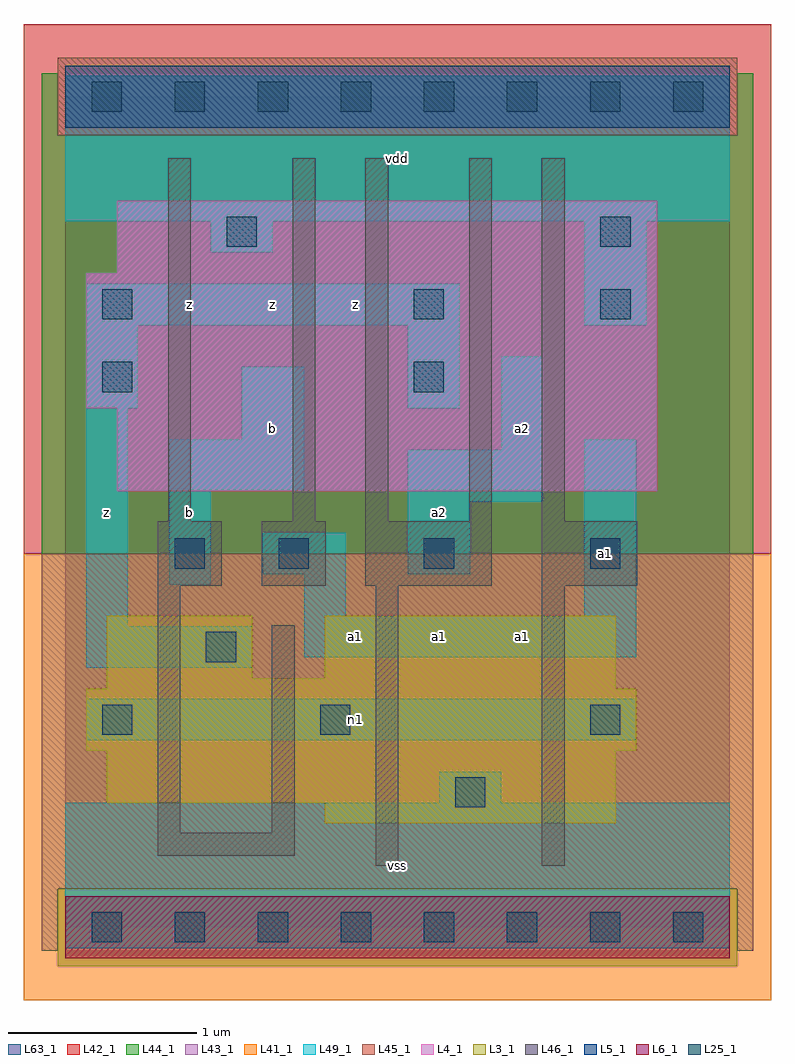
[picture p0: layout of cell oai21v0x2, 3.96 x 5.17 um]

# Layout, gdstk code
import gdstk
lib = gdstk.Library(unit=1e-6, precision=1e-09)
def R(c, l, rs):  # rectangles x0, y0, x1, y1
    for r in rs: c.add(gdstk.rectangle(r[:2], r[2:], *l))
def A(c, l, x, y, w, h, nx, ny, dx, dy):  # array of equal rectangles
    R(c, l, [(x+i*dx, y+j*dy, x+i*dx+w, y+j*dy+h) for i in range(nx) for j in range(ny)])
L3_1 = (3, 1)
L4_1 = (4, 1)
L5_1 = (5, 1)
L6_1 = (6, 1)
L25_1 = (25, 1)
L41_1 = (41, 1)
L42_1 = (42, 1)
L43_1 = (43, 1)
L44_1 = (44, 1)
L45_1 = (45, 1)
L46_1 = (46, 1)
L49_1 = (49, 1)
L63_1 = (63, 1)

oai21v0x2 = lib.new_cell('oai21v0x2')
R(oai21v0x2, L3_1, [(1.375,0.55,2.915,0.66), (0.22,0.66,2.915,0.935), (0.11,0.935,3.025,1.265), (0.22,1.265,2.915,1.32), (0.22,1.32,0.99,1.65), (1.375,1.32,2.915,1.65)])
R(oai21v0x2, L4_1, [(0.275,2.31,3.135,2.75), (0.11,2.75,3.135,3.465), (0.275,3.465,3.135,3.85)])
R(oai21v0x2, L5_1, [(0,4.235,3.52,4.565)])
R(oai21v0x2, L6_1, [(0,-0.165,3.52,0.165)])
A(oai21v0x2, L25_1, 0.14, -0.08, 0.16, 0.16, 8, 2, 0.44, 4.4)
R(oai21v0x2, L25_1, [(2.065,0.635,2.225,0.795), (0.195,1.02,0.355,1.18), (1.35,1.02,1.51,1.18), (2.78,1.02,2.94,1.18), (0.745,1.405,0.905,1.565), (0.58,1.9,0.74,2.06), (1.13,1.9,1.29,2.06), (1.9,1.9,2.06,2.06), (2.78,1.9,2.94,2.06), (0.195,2.835,0.355,2.995), (1.845,2.835,2.005,2.995), (0.195,3.22,0.355,3.38), (1.845,3.22,2.005,3.38), (2.835,3.22,2.995,3.38), (0.855,3.605,1.015,3.765), (2.835,3.605,2.995,3.765)])
R(oai21v0x2, L41_1, [(-0.22,-0.385,3.74,1.98)])
R(oai21v0x2, L42_1, [(-0.22,1.98,3.74,4.785)])
R(oai21v0x2, L43_1, [(0,-0.165,3.52,0.165), (1.375,0.55,2.915,0.66), (0.22,0.66,2.915,0.935), (0.11,0.935,3.025,1.265), (0.22,1.265,2.915,1.32), (0.22,1.32,0.99,1.65), (1.375,1.32,2.915,1.65), (0.275,2.31,3.135,2.75), (0.11,2.75,3.135,3.465), (0.275,3.465,3.135,3.85), (0,4.235,3.52,4.565)])
R(oai21v0x2, L44_1, [(-0.04,-0.205,3.56,0.205), (-0.125,1.98,3.645,4.195), (-0.125,4.195,-0.04,4.525), (3.56,4.195,3.645,4.525)])
R(oai21v0x2, L45_1, [(-0.125,-0.125,-0.04,0.205), (3.56,-0.125,3.645,0.205), (-0.125,0.205,3.645,1.98), (-0.04,4.195,3.56,4.605)])
R(oai21v0x2, L46_1, [(1.645,0.325,1.765,1.81), (2.525,0.325,2.645,1.81), (0.49,0.38,1.215,0.5), (0.49,0.5,0.61,1.81), (1.095,0.5,1.215,1.6), (0.49,1.81,0.83,2.15), (1.04,1.81,1.38,2.15), (1.59,1.81,2.26,2.15), (2.525,1.81,3.03,2.15), (0.545,2.15,0.665,4.075), (1.205,2.15,1.325,4.075), (1.59,2.15,1.71,4.075), (2.14,2.15,2.26,4.075), (2.525,2.15,2.645,4.075)])
R(oai21v0x2, L49_1, [(0,-0.11,3.52,0.66), (1.98,0.66,2.31,0.825), (0.11,0.99,3.025,1.21), (0.11,1.375,0.99,1.595), (1.265,1.43,3.025,1.65), (0.11,1.595,0.33,2.75), (1.265,1.65,1.485,1.87), (2.75,1.65,3.025,2.585), (0.55,1.815,0.77,2.31), (1.045,1.87,1.485,2.09), (1.815,1.87,2.145,2.255), (1.815,2.255,2.53,2.53), (0.55,2.31,1.265,2.585), (2.31,2.53,2.53,3.025), (0.935,2.585,1.265,2.97), (0.11,2.75,0.385,3.19), (1.815,2.75,2.09,3.19), (0.11,3.19,2.09,3.41), (2.75,3.19,3.08,3.74), (0.77,3.575,1.1,3.74), (0,3.74,3.52,4.51)])
R(oai21v0x2, L63_1, [(0,0,3.52,4.4)])
oai21v0x2.add(gdstk.Label('z', (0.22,2.2), layer=49, texttype=1))
oai21v0x2.add(gdstk.Label('b', (0.66,2.2), layer=49, texttype=1))
oai21v0x2.add(gdstk.Label('b', (1.1,2.64), layer=49, texttype=1))
oai21v0x2.add(gdstk.Label('z', (0.66,3.3), layer=49, texttype=1))
oai21v0x2.add(gdstk.Label('z', (1.1,3.3), layer=49, texttype=1))
oai21v0x2.add(gdstk.Label('vss', (1.76,0.33), layer=49, texttype=1))
oai21v0x2.add(gdstk.Label('a1', (1.54,1.54), layer=49, texttype=1))
oai21v0x2.add(gdstk.Label('a1', (1.98,1.54), layer=49, texttype=1))
oai21v0x2.add(gdstk.Label('a2', (1.98,2.2), layer=49, texttype=1))
oai21v0x2.add(gdstk.Label('z', (1.54,3.3), layer=49, texttype=1))
oai21v0x2.add(gdstk.Label('vdd', (1.76,4.07), layer=49, texttype=1))
oai21v0x2.add(gdstk.Label('a1', (2.42,1.54), layer=49, texttype=1))
oai21v0x2.add(gdstk.Label('a2', (2.42,2.64), layer=49, texttype=1))
oai21v0x2.add(gdstk.Label('n1', (1.54,1.1), layer=49, texttype=1))
oai21v0x2.add(gdstk.Label('a1', (2.86,1.98), layer=49, texttype=1))

lib.write_gds('oai21v0x2.gds')
